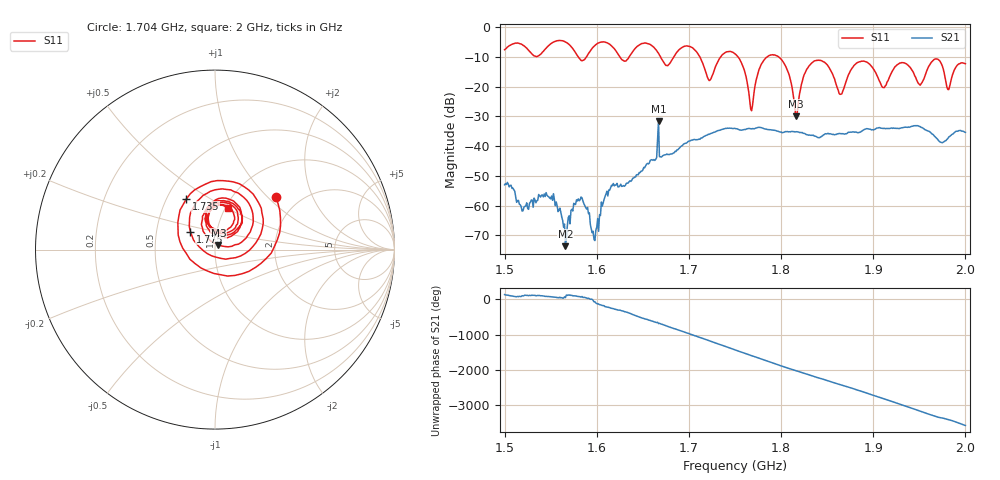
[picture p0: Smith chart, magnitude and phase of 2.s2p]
! NanoVNA-App by SYSJOINT et al v1.1.209 (+OD18)
! Date: 2026-01-21 14:44:43
! Start: 1,5GHz Stop: 2GHz Points: 501
! S-Parameter data: F S11 S21 S12 S22
# Hz S RI R 50
!  Frequency  S11_Real  S11_Imag  S21_Real  S21_Imag  S12_Real  S12_Imag  S22_Real  S22_Imag
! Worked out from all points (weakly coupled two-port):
!   501 points, 1.5 GHz to 2 GHz, reference 50 ohm
!   highest |S21| = -31.53 dB at 1.667 GHz (marker M1); lowest = -73.6 dB at 1.566 GHz (marker M2)
!   lowest |S11| = -30.0 dB at 1.816 GHz (marker M3), VSWR 1.07, Z = 51.9 + j2.63 ohm
!   |S11| at or under -10 dB: 1.712 GHz to 1.734 GHz (22.62 MHz wide, 1.31 % of centre); 1.753 GHz to 1.785 GHz (31.83 MHz wide, 1.8 % of centre); 1.797 GHz to end of sweep (the widest 3 of 6)
!   S12 and S22 are empty: the file has one direction only
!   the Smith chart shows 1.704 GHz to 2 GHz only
!   S11 on the Smith chart (normalised r, x): 1.704 GHz: 1.52, +1.13; 1.735 GHz: 0.63, +0.40; 1.775 GHz: 0.75, +0.15; 2 GHz: 1.02, +0.51
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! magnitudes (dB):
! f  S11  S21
! 1.5 GHz  -7.6  -53.0
! 1.552 GHz  -5.2  -58.2
! 1.566 GHz  -5.0  -73.6
! 1.584 GHz  -11.3  -57.4
! 1.597 GHz  -6.4  -71.4
! 1.616 GHz  -6.3  -53.2
! 1.667 GHz  -8.8  -31.5
! 1.704 GHz  -6.9  -38.0
! 1.722 GHz  -18.0  -36.0
! 1.735 GHz  -9.8  -34.5
! 1.75 GHz  -9.0  -34.0
! 1.768 GHz  -28.1  -34.2
! 1.775 GHz  -15.4  -33.7
! 1.799 GHz  -10.5  -35.3
! 1.816 GHz  -30.0  -35.2
! 1.834 GHz  -11.9  -36.4
! 1.864 GHz  -22.6  -35.8
! 1.885 GHz  -11.6  -35.4
! 1.917 GHz  -17.2  -34.1
! 1.969 GHz  -10.7  -37.5
! 1.982 GHz  -21.0  -36.9
! 2 GHz  -12.3  -35.4
